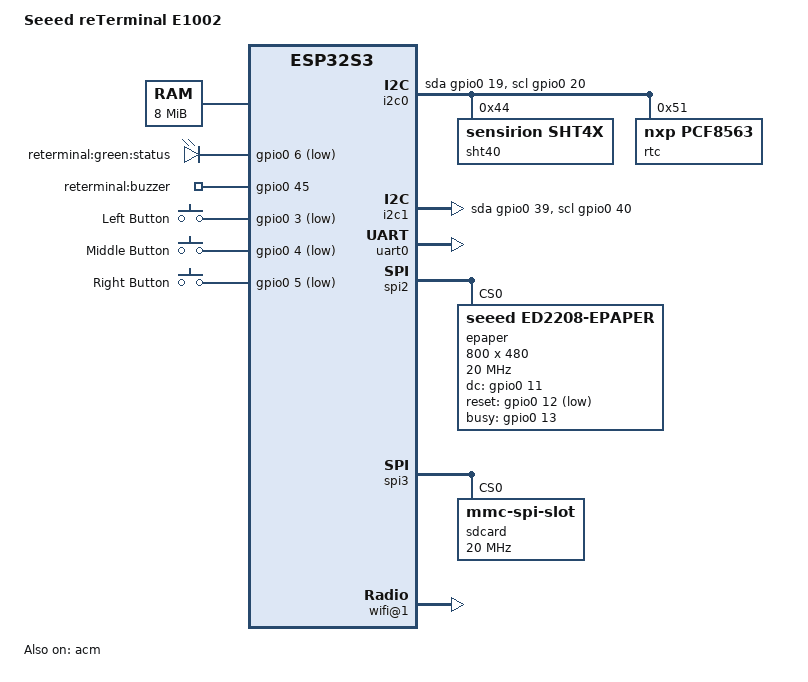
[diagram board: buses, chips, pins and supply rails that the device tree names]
// SPDX-License-Identifier: GPL-2.0-or-later
/*
 * Device Tree Source for Seeed reTerminal E1002
 * Hardware: ESP32-S3 (32MB Flash, 8MB PSRAM), 7.3" Spectra 6 ePaper Display,
 *           SHT40 Temp/Humidity, PCF8563 RTC, 3 Buttons, Green LED, Buzzer, SD.
 * Schematic Ref: Seeed reTerminal E1002 V1.2 (202004321)
 */
/dts-v1/;
#include <dt-bindings/gpio/gpio.h>
#include <dt-bindings/interrupt-controller/irq.h>
#include "gpio-esp32.h"
#include "esp32s3.dtsi"

/ {
	model = "Seeed reTerminal E1002";
	compatible = "seeed,reterminal-e1002", "espressif,esp32s3";

	chosen {
		bootargs = "earlycon=esp32s3uart,mmio32,0x60000000,115200n8,40000000 console=ttyS0,115200n8 debug rw root=mtd:rootfs no_hash_pointers";
		stdout-path = "serial0:115200n8";
	};

	memory@0 {
		device_type = "memory";
		reg = <0x3d800000 0x00800000>; /* 8MB Octal PSRAM */
	};

	reserved-memory {
		#address-cells = <1>;
		#size-cells = <1>;
		ranges;

		/* ESP-IDF network adapter shared memory */
		shmem: shmem@3df00000 {
			reg = <0x3df00000 0x00100000>;
			no-map;
		};
	};

	leds {
		compatible = "gpio-leds";

		led_green: led-green {
			label = "reterminal:green:status";
			gpios = <&gpio0 6 GPIO_ACTIVE_LOW>;
			default-state = "on";
		};

		buzzer: buzzer {
			label = "reterminal:buzzer";
			gpios = <&gpio0 45 GPIO_ACTIVE_HIGH>;
			default-state = "off";
		};
	};

	gpio-keys {
		compatible = "gpio-keys";
		autorepeat;

		button_left: button-left {
			label = "Left Button";
			linux,code = <105>; /* KEY_LEFT */
			gpios = <&gpio0 3 (GPIO_ACTIVE_LOW | GPIO_PULL_UP)>;
			debounce-interval = <50>;
		};

		button_middle: button-mid {
			label = "Middle Button";
			linux,code = <28>; /* KEY_ENTER */
			gpios = <&gpio0 4 (GPIO_ACTIVE_LOW | GPIO_PULL_UP)>;
			debounce-interval = <50>;
		};

		button_right: button-right {
			label = "Right Button";
			linux,code = <106>; /* KEY_RIGHT */
			gpios = <&gpio0 5 (GPIO_ACTIVE_LOW | GPIO_PULL_UP)>;
			debounce-interval = <50>;
		};
	};

	i2c0: i2c0 {
		#address-cells = <1>;
		#size-cells = <0>;
		compatible = "i2c-gpio";
		sda-gpios = <&gpio0 19 (GPIO_ACTIVE_HIGH | GPIO_OPEN_DRAIN)>;
		scl-gpios = <&gpio0 20 (GPIO_ACTIVE_HIGH | GPIO_OPEN_DRAIN)>;
		i2c-gpio,delay-us = <2>; /* 250 kHz */
		pinctrl-0 = <&i2c0_pins>;
		pinctrl-names = "default";

		/* Sensirion SHT40 Temperature and Humidity Sensor */
		sht40: sensor@44 {
			compatible = "sensirion,sht4x";
			reg = <0x44>;
		};

		/* NXP/Citizen PCF8563 Real-Time Clock */
		rtc: rtc@51 {
			compatible = "nxp,pcf8563";
			reg = <0x51>;
		};
	};

	i2c1: i2c1 {
		#address-cells = <1>;
		#size-cells = <0>;
		compatible = "i2c-gpio";
		sda-gpios = <&gpio0 39 (GPIO_ACTIVE_HIGH | GPIO_OPEN_DRAIN)>;
		scl-gpios = <&gpio0 40 (GPIO_ACTIVE_HIGH | GPIO_OPEN_DRAIN)>;
		i2c-gpio,delay-us = <2>;
		pinctrl-0 = <&i2c1_pins>;
		pinctrl-names = "default";
		status = "okay";
	};
};

&soc {
	/* 32MB Flash on SPI0/SPI1 mapped into virtual memory space */
	flash@42000000 {
		reg = <0x42000000 0x02000000>; /* 32MB */
	};
};

&iomux {
	status = "ok";

	uart0_pins: uart0_pins {
		pinctrl-single,pins = <
			PIN(43) FUN0_20MA              /* U0TXD */
			PIN(44) FUN0_20MA_IE_WPU>;     /* U0RXD */
	};

	i2c0_pins: i2c0_pins {
		pinctrl-single,pins = <
			PIN(19) FUN0_20MA_IE_WPU       /* I2C0 SDA */
			PIN(20) FUN0_20MA_IE_WPU>;     /* I2C0 SCL */
	};

	i2c1_pins: i2c1_pins {
		pinctrl-single,pins = <
			PIN(39) FUN0_20MA_IE_WPU       /* I2C1 SDA */
			PIN(40) FUN0_20MA_IE_WPU>;     /* I2C1 SCL */
	};

	spi2_epaper_pins: spi2_epaper_pins {
		pinctrl-single,pins = <
			PIN(7)  (FUN_SEL(4) | FUN_DRV_40MA)    /* SCK */
			PIN(9)  (FUN_SEL(4) | FUN_DRV_40MA)    /* MOSI */
			PIN(10) (FUN_SEL(4) | FUN_DRV_20MA)    /* CS0 */
			PIN(11) FUN0_20MA                      /* DC */
			PIN(12) FUN0_20MA                      /* RST */
			PIN(13) FUN0_20MA_IE_WPU>;             /* BUSY */
	};

	spi3_sd_pins: spi3_sd_pins {
		pinctrl-single,pins = <
			PIN(14) (FUN_SEL(4) | FUN_DRV_40MA)    /* SD CLK */
			PIN(15) (FUN_SEL(4) | FUN_DRV_40MA)    /* SD CMD (MOSI) */
			PIN(16) (FUN_SEL(4) | FUN0_20MA_IE_WPU)/* SD DAT0 (MISO) */
			PIN(21) (FUN_SEL(4) | FUN_DRV_20MA)>;  /* SD CS */
	};
};

&gpio0 {
	status = "ok";
};

&uart0 {
	pinctrl-0 = <&uart0_pins>;
	pinctrl-names = "default";
	status = "ok";
};

/* SPI2: Connected to 7.3" 800x480 Spectra 6 ePaper Display */
&spi2 {
	pinctrl-0 = <&spi2_epaper_pins>;
	pinctrl-names = "default";
	status = "ok";

	epaper: display@0 {
		compatible = "seeed,ed2208-epaper", "fsl,spi-display";
		reg = <0>;
		spi-max-frequency = <20000000>;
		dc-gpios = <&gpio0 11 GPIO_ACTIVE_HIGH>;
		reset-gpios = <&gpio0 12 GPIO_ACTIVE_LOW>;
		busy-gpios = <&gpio0 13 GPIO_ACTIVE_HIGH>;
		width = <800>;
		height = <480>;
		bpp = <4>;
	};
};

/* SPI3: Connected to MicroSD Slot */
&spi3 {
	pinctrl-0 = <&spi3_sd_pins>;
	pinctrl-names = "default";
	status = "ok";

	sdcard: mmc_spi@0 {
		compatible = "mmc-spi-slot";
		reg = <0>;
		spi-max-frequency = <20000000>;
		voltage-ranges = <3200 3400>;
	};
};

&acm {
	status = "ok";
};

&ipc {
	wifi@1 {
		compatible = "esp,esp32-wifi-shmem";
	};
};
